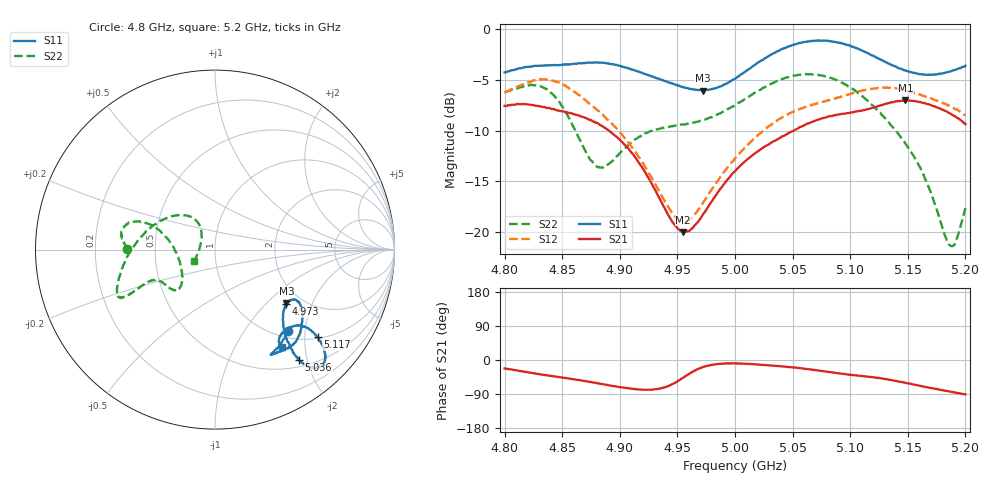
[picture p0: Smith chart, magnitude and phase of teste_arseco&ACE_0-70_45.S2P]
! Network Analyzer HP8722D
! Hewlett-Packard
! Data name: Linha & Wilkinson
! Saver's name: Rodrigo Anjos
! Comments: Teste da utilização de aquisição
! continua pelo VNA HP8722D
! Time and date: 8/5/2025 13:08
!  Frequency  S11  S21  S12  S22
# HZ  S  MA R 50
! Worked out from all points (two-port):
!   401 points, 4.8 GHz to 5.2 GHz, reference 50 ohm
!   highest |S21| = -7.03 dB at 5.148 GHz (marker M1); lowest = -20.0 dB at 4.955 GHz (marker M2)
!   |S21| within 3 dB of the highest: start of sweep to 4.891 GHz; 5.05 GHz to end of sweep
!   lowest |S11| = -6.1 dB at 4.972 GHz (marker M3), VSWR 2.98, Z = 83.2 - j66.2 ohm
!   |S11| at or under -10 dB: nowhere
!   |S22| runs from -21.4 to -4.4 dB; largest |S21 - S12| = 0.95
!   S11 on the Smith chart (normalised r, x): 4.8 GHz: 1.13, -1.64; 4.973 GHz: 1.64, -1.34; 5.036 GHz: 0.61, -1.86; 5.117 GHz: 1.04, -2.31; 5.2 GHz: 0.82, -1.58
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4.8e9  0.6118 -48.0  0.4189 -22.2  0.4882 -176.4  0.4905 179.6
4.823e9  0.6545 -59.7  0.4236 -34.0  0.5515 175.2  0.5307 169.5
4.837e9  0.6617 -61.7  0.4088 -40.7  0.5638 166.6  0.5048 162.6
4.85e9  0.6649 -60.2  0.3931 -46.0  0.5336 158.5  0.4167 158.9
4.867e9  0.6779 -54.9  0.3712 -54.2  0.4599 150.0  0.2713 167.2
4.885e9  0.6838 -49.1  0.3323 -63.6  0.3797 144.2  0.2075 -159.8
4.91e9  0.6328 -40.4  0.2467 -75.8  0.2645 137.3  0.2762 -133.3
4.934e9  0.57 -33.1  0.1483 -75.9  0.1599 141.4  0.3223 -135.9
4.955e9  0.5181 -32.4  0.1 -46.8  0.1124 171.6  0.3392 -144.4
4.972e9  0.498 -36.9  0.1216 -18.6  0.1386 -160.7  0.3558 -151.0
4.973e9  0.5005 -37.5  0.1241 -18.0  0.1414 -159.8  0.3566 -151.2
5e9  0.5688 -48.1  0.2 -9.0  0.2307 -147.1  0.4228 -154.1
5.036e9  0.7744 -52.7  0.2848 -15.7  0.3527 -147.9  0.5538 -152.4
5.067e9  0.8738 -48.6  0.3491 -25.6  0.4244 -154.9  0.5985 -155.5
5.095e9  0.8434 -43.5  0.3831 -37.3  0.4704 -162.9  0.536 -167.0
5.117e9  0.7507 -40.5  0.4056 -44.4  0.5069 -173.1  0.4342 173.7
5.134e9  0.6744 -40.3  0.4329 -51.9  0.5148 176.7  0.3442 152.3
5.148e9  0.6259 -42.6  0.4451 -60.3  0.4977 168.6  0.2729 135.1
5.165e9  0.596 -48.2  0.431 -71.0  0.4661 160.7  0.1826 122.5
5.186e9  0.6166 -54.5  0.386 -83.0  0.4194 153.5  0.08654 156.7
5.191e9  0.6293 -55.4  0.372 -85.8  0.4032 151.9  0.08758 179.6
5.2e9  0.6599 -55.7  0.3406 -90.8  0.3761 149.1  0.1313 -151.3
